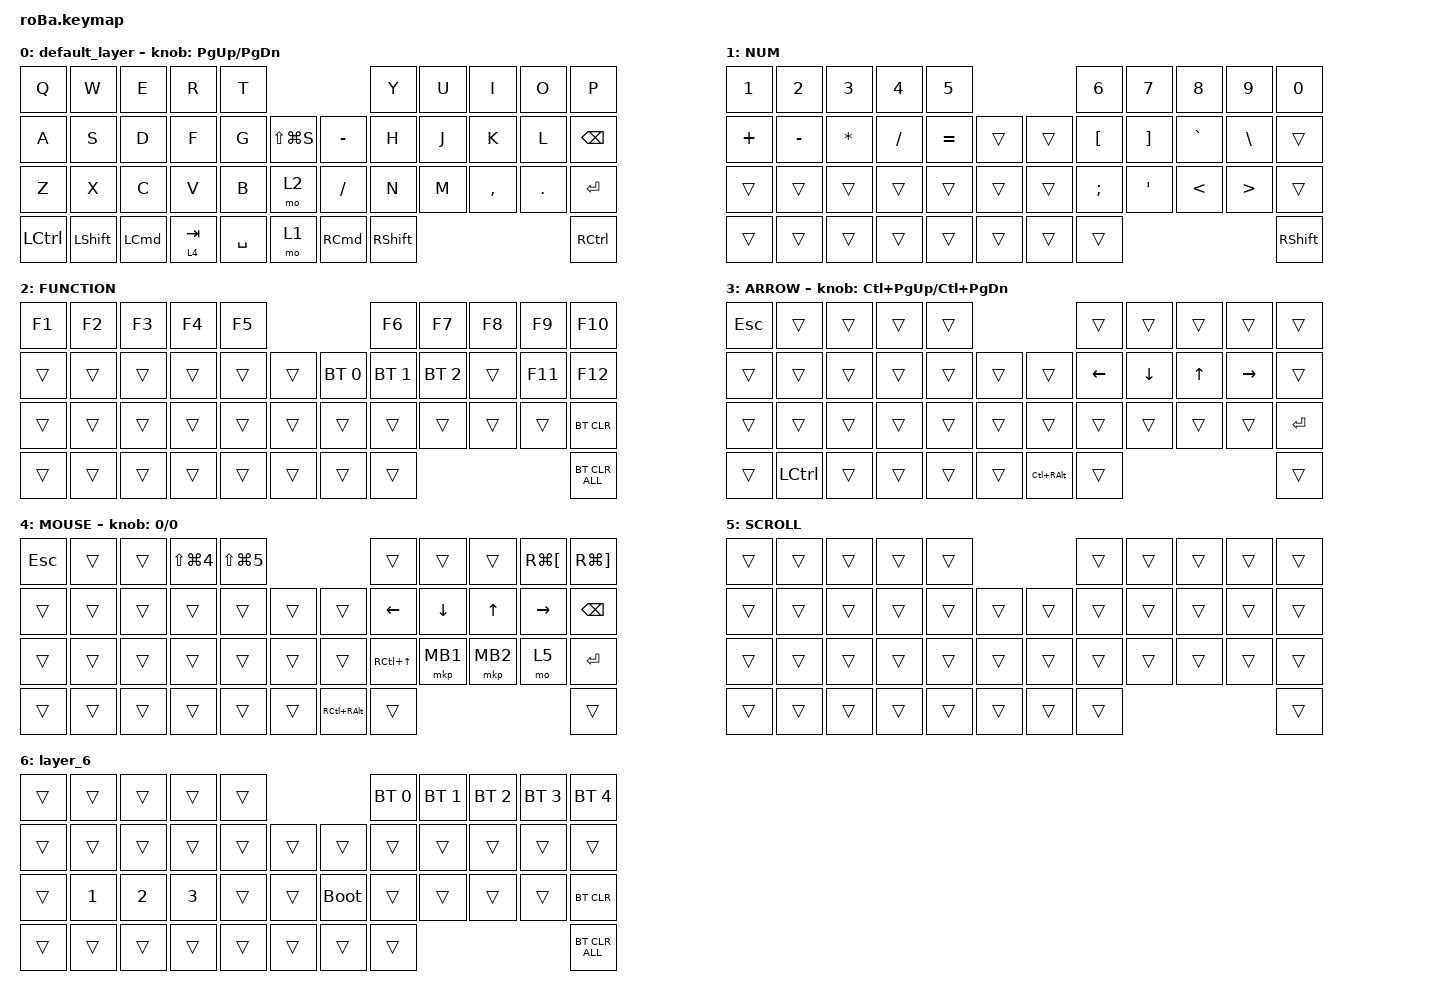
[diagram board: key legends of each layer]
#include <behaviors.dtsi>
#include <dt-bindings/zmk/bt.h>
#include <dt-bindings/zmk/keys.h>
#include <dt-bindings/zmk/pointing.h>

&mt {
    flavor = "balanced";
    quick-tap-ms = <0>;
    tapping-term-ms = <100>;
};

&lt { tapping-term-ms = <150>; };

&trackball {
    // automouse-layer = <4>;  // 無効化: &mo 4でホールド制御に変更

    scroll-layers = <5>;

    // arrows {
    //     layers = <3>;
    //     bindings =
    //         <&kp RIGHT_ARROW>,
    //         <&kp LEFT_ARROW>,
    //         <&kp UP_ARROW>,
    //         <&kp DOWN_ARROW>;
    //     tick = <10>;
    //     wait-ms = <5>;
    //     tap-ms = <5>;
    // };
};

/ {
    combos {
        compatible = "zmk,combos";

        tab {
            bindings = <&kp TAB>;
            key-positions = <11 12>;
        };

        shift_tab {
            bindings = <&kp LS(TAB)>;
            key-positions = <12 13>;
        };

        muhennkann {
            bindings = <&to_layer_0 INT_MUHENKAN>;
            key-positions = <11 10>;
        };

        double_quotation {
            bindings = <&kp DOUBLE_QUOTES>;
            key-positions = <20 21>;
        };

        eq {
            bindings = <&kp EQUAL>;
            key-positions = <24 25>;
        };
    };

    macros {
        to_layer_0: to_layer_0 {
            compatible = "zmk,behavior-macro-one-param";
            #binding-cells = <1>;
            bindings = <&to 0 &macro_param_1to1 &kp MACRO_PLACEHOLDER>;
            label = "TO_LAYER_0";
        };
    };

    behaviors {
        lt_to_layer_0: lt_to_layer_0 {
            compatible = "zmk,behavior-hold-tap";
            label = "LAYER_TAP_TO_0";
            bindings = <&mo>, <&to_layer_0>;

            #binding-cells = <2>;
            tapping-term-ms = <200>;
        };
    };

    keymap {
        compatible = "zmk,keymap";

        default_layer {
            bindings = <
&kp Q             &kp W           &kp E             &kp R      &kp T                                            &kp Y       &kp U  &kp I      &kp O       &kp P
&kp A             &kp S           &kp D             &kp F      &kp G      &kp LS(LG(S))      &kp MINUS          &kp H       &kp J  &kp K      &kp L       &kp BACKSPACE
&kp Z             &kp X           &kp C             &kp V      &kp B      &mo 2              &kp SLASH          &kp N       &kp M  &kp COMMA  &kp PERIOD  &kp ENTER
&kp LEFT_CONTROL  &kp LEFT_SHIFT  &kp LEFT_COMMAND  &lt 4 TAB  &kp SPACE  &mo 1              &kp RIGHT_COMMAND  &kp RSHIFT                                &kp RIGHT_CONTROL
            >;

            sensor-bindings = <&inc_dec_kp PG_UP PAGE_DOWN>;
        };

        NUM {
            bindings = <
&kp NUMBER_1  &kp NUMBER_2  &kp NUMBER_3  &kp NUMBER_4  &kp N5                         &kp NUMBER_6      &kp NUMBER_7       &kp NUMBER_8   &kp NUMBER_9      &kp NUMBER_0
&kp PLUS      &kp MINUS     &kp ASTERISK  &kp SLASH     &kp EQUAL  &trans      &trans  &kp LEFT_BRACKET  &kp RIGHT_BRACKET  &kp GRAVE      &kp BACKSLASH     &trans
&trans        &trans        &trans        &trans        &trans     &trans      &trans  &kp SEMICOLON     &kp SINGLE_QUOTE   &kp LESS_THAN  &kp GREATER_THAN  &trans
&trans        &trans        &trans        &trans        &trans     &trans      &trans  &trans                                                                &kp RIGHT_SHIFT
            >;
        };

        FUNCTION {
            bindings = <
&kp F1  &kp F2  &kp F3  &kp F4  &kp F5                            &kp F6        &kp F7        &kp F8  &kp F9   &kp F10
&trans  &trans  &trans  &trans  &trans  &trans      &bt BT_SEL 0  &bt BT_SEL 1  &bt BT_SEL 2  &trans  &kp F11  &kp F12
&trans  &trans  &trans  &trans  &trans  &trans      &trans        &trans        &trans        &trans  &trans   &bt BT_CLR
&trans  &trans  &trans  &trans  &trans  &trans      &trans        &trans                                       &bt BT_CLR_ALL
            >;
        };

        ARROW {
            bindings = <
&kp ESCAPE  &trans            &trans  &trans  &trans                                 &trans          &trans          &trans        &trans           &trans
&trans      &trans            &trans  &trans  &trans  &trans      &trans             &kp LEFT_ARROW  &kp DOWN_ARROW  &kp UP_ARROW  &kp RIGHT_ARROW  &trans
&trans      &trans            &trans  &trans  &trans  &trans      &trans             &trans          &trans          &trans        &trans           &kp ENTER
&trans      &kp LEFT_CONTROL  &trans  &trans  &trans  &trans      &kp LC(RIGHT_ALT)  &trans                                                         &trans
            >;

            sensor-bindings = <&inc_dec_kp LC(PAGE_UP) LC(PAGE_DOWN)>;
        };

        MOUSE {
            bindings = <
&kp ESCAPE  &trans  &trans  &kp LS(LG(NUMBER_4))  &kp LS(LG(NUMBER_5))                                 &trans            &trans          &trans        &kp RG(LEFT_BRACKET)  &kp RG(RIGHT_BRACKET)
&trans      &trans  &trans  &trans                &trans                &trans      &trans             &kp LEFT_ARROW    &kp DOWN_ARROW  &kp UP_ARROW  &kp RIGHT_ARROW       &kp BACKSPACE
&trans      &trans  &trans  &trans                &trans                &trans      &trans             &kp RC(UP_ARROW)  &mkp MB1        &mkp MB2      &mo 5                 &kp ENTER
&trans      &trans  &trans  &trans                &trans                &trans      &kp RC(RIGHT_ALT)  &trans                                                                &trans
            >;

            sensor-bindings = <&inc_dec_kp 0 0>;
        };

        SCROLL {
            bindings = <
&trans  &trans  &trans  &trans  &trans                      &trans  &trans  &trans  &trans  &trans
&trans  &trans  &trans  &trans  &trans  &trans      &trans  &trans  &trans  &trans  &trans  &trans
&trans  &trans  &trans  &trans  &trans  &trans      &trans  &trans  &trans  &trans  &trans  &trans
&trans  &trans  &trans  &trans  &trans  &trans      &trans  &trans                          &trans
            >;
        };

        layer_6 {
            bindings = <
&trans  &trans        &trans        &trans        &trans                           &bt BT_SEL 0  &bt BT_SEL 1  &bt BT_SEL 2  &bt BT_SEL 3  &bt BT_SEL 4
&trans  &trans        &trans        &trans        &trans  &trans      &trans       &trans        &trans        &trans        &trans        &trans
&trans  &kp NUMBER_1  &kp NUMBER_2  &kp NUMBER_3  &trans  &trans      &bootloader  &trans        &trans        &trans        &trans        &bt BT_CLR
&trans  &trans        &trans        &trans        &trans  &trans      &trans       &trans                                                  &bt BT_CLR_ALL
            >;
        };
    };
};
